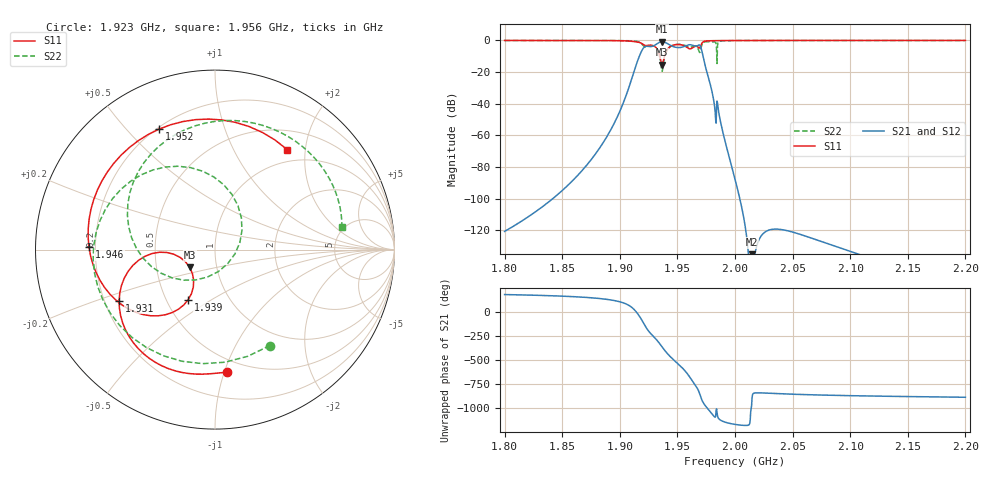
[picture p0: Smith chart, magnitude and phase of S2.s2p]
! Touchstone file exported from HFSS 2023.1.0
!  File:  E:/3.%x6211%x7684%x8BBA%x6587/%x65B0%x6D4B%x8BD5/CoaxialF93.aedt
!  Generated:  9:33:10 %x4E0B%x5348  5%x6708 26, 2023
!  Design:  S2
!  Project:  CoaxialF93
!  Setup:  Setup1
!  Solution:  Sweep
! Variables:
!  Hin1 = 26mm
!  Hout = 29mm
!  L12 = 14mm
!  L13 = 14.5mm
!  L23 = 9.2mm
!  L34 = 8mm
!  L45 = 10.8mm
!  L46 = 8mm
!  L56 = 8mm
!  L67 = 12mm
!  L78 = 7mm
!  L79 = 8mm
!  L89 = 15mm
!  Rin = 5mm
!  Rin2 = 4mm
!  Rout = 15mm
!  Rport = 1.15mm
!  Rport2 = 3mm
!  Rportin = 0.5mm
!  d = 3mm
!  d01 = 3mm
!  d02 = 3.7mm
!  d03 = 3.8mm
!  d04 = 3.65mm
!  d05 = 3.6mm
!  d06 = 3.6mm
!  d07 = 3.8mm
!  d08 = 3.5mm
!  d09 = 3mm
!  d12 = 18mm
!  d12x = 15.5mm
!  d12y = 25mm
!  d23 = 18mm
!  d34 = 30mm
!  hport = 10.4mm
!  hport2 = 10.4mm
!  lport = 12mm
!  lport2 = 1mm
!  lport_2 = 12mm
!  m = 2mm
!  w12 = 12mm
!  w13 = 10mm
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# GHz S MA R 50.000000
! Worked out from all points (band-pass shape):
!   1001 points, 1.8 GHz to 2.2 GHz, reference 50 ohm
!   highest |S21| = -0.70 dB at 1.937 GHz (marker M1); lowest = -161.9 dB at 2.014 GHz (marker M2)
!   |S21| within 3 dB of the highest: 1.928 GHz to 1.946 GHz (17.52 MHz wide, 0.905 % of centre); 1.956 GHz to 1.97 GHz (13.74 MHz wide, 0.7 % of centre)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
!   lowest |S11| = -15.3 dB at 1.937 GHz (marker M3), VSWR 1.42, Z = 37 - j7.54 ohm
!   |S11| at or under -10 dB: 1.93474 GHz to 1.938801 GHz (4.061 MHz wide, 0.21 % of centre)
!   |S22| runs from -19.5 to 0.0 dB; largest |S21 - S12| = 1e-14
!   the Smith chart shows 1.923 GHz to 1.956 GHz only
!   S11 on the Smith chart (normalised r, x): 1.923 GHz: 0.40, -1.02; 1.931 GHz: 0.26, -0.23; 1.939 GHz: 0.64, -0.40; 1.946 GHz: 0.17, +0.01; 1.952 GHz: 0.21, +0.62; 1.956 GHz: 0.79, +1.67
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1.8  0.9985 -90.3  9.264e-07 178.8  9.264e-07 178.8  0.9985 -90.4
! Gamma 0.0539170646371975 37.7796265928685 0.0540126821660286 37.7797867002826
! Port Impedance 50 0 50 0
1.8668  0.9958 -116.9  7.413e-05 152.3  7.413e-05 152.3  0.9961 -115.6
1.9028  0.9762 176.8  0.01011 93.6  0.01011 93.6  0.9862 -163.4
1.9116  0.9294 94.6  0.08599 33.4  0.08599 33.4  0.9668 159.8
1.9176  0.8511 -20.7  0.3614 -56.2  0.3614 -56.2  0.8499 94.8
1.9228  0.6863 -84.4  0.6525 -162.4  0.6525 -162.4  0.6161 -60.2
1.9312  0.6049 -152.0  0.7357 79.2  0.7357 79.2  0.585 134.5
1.9336  0.4302 -172.0  0.8407 45.6  0.8407 45.6  0.4048 90.9
1.9368  0.1723 -145.0  0.9228 -5.6  0.9228 -5.6  0.1057 -48.4
1.9388  0.3161 -118.1  0.8883 -37.6  0.8883 -37.6  0.2866 -146.7
1.946  0.7022 178.9  0.6484 -130.3  0.6484 -130.3  0.6986 98.9
1.9516  0.7401 114.8  0.5955 168.5  0.5955 168.5  0.7537 42.4
1.9556  0.6872 54.2  0.6385 121.3  0.6385 121.3  0.7177 10.0
1.9648  0.6376 167.6  0.6696 -28.4  0.6696 -28.4  0.6646 -45.6
1.9732  0.9333 83.9  0.2198 122.8  0.2198 122.8  0.8838 -28.4
1.9796  0.9807 43.1  0.02835 25.9  0.02835 25.9  0.8971 179.3
1.9872  0.9887 17.1  0.002957 -42.1  0.002957 -42.1  0.9525 68.0
2  0.9938 -8.0  4.15e-05 -87.7  4.15e-05 -87.7  0.9899 4.2
2.0144  0.9962 -24.4  8.044e-09 105.6  8.044e-09 105.6  0.9952 -19.5
2.0668  0.9985 -51.6  5.608e-07 -140.9  5.608e-07 -140.9  0.9984 -50.7
2.1336  0.999 -66.7  8.903e-08 -156.4  8.903e-08 -156.4  0.999 -66.5
2.2  0.9991 -76.4  2.136e-08 -166.3  2.136e-08 -166.3  0.999 -76.4
